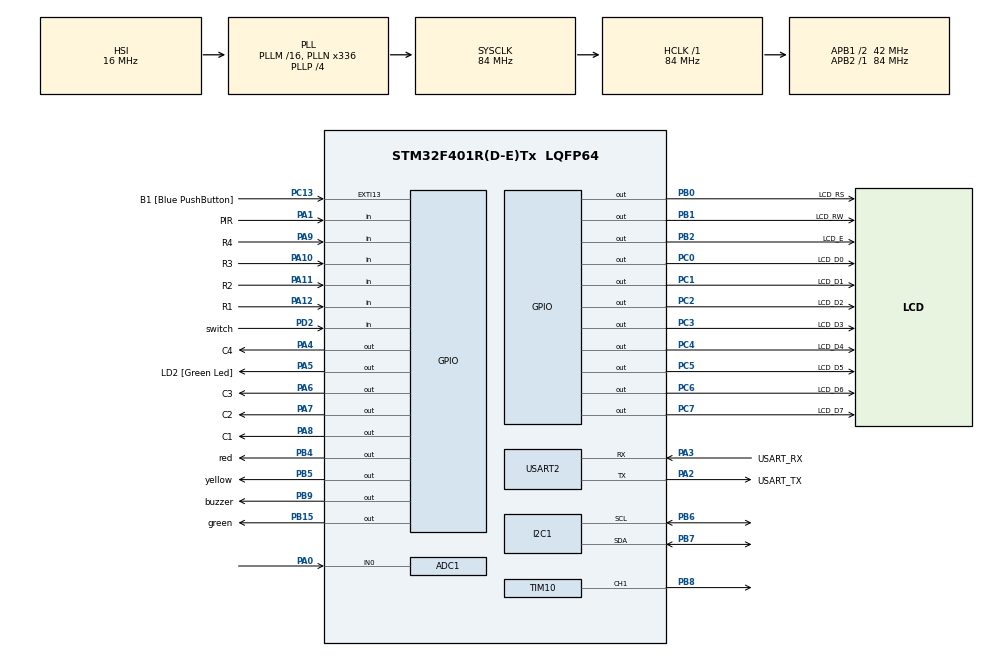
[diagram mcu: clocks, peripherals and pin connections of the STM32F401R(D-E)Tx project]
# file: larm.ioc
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ADC1.Channel-17\#ChannelRegularConversion=ADC_CHANNEL_0
ADC1.ClockPrescaler=ADC_CLOCK_SYNC_PCLK_DIV8
ADC1.ContinuousConvMode=DISABLE
ADC1.DMAContinuousRequests=DISABLE
ADC1.DataAlign=ADC_DATAALIGN_RIGHT
ADC1.DiscontinuousConvMode=DISABLE
ADC1.EOCSelection=ADC_EOC_SINGLE_CONV
ADC1.EnableAnalogWatchDog=false
ADC1.ExternalTrigConv=ADC_SOFTWARE_START
ADC1.ExternalTrigConvEdge=ADC_EXTERNALTRIGCONVEDGE_NONE
ADC1.InjNumberOfConversion=0
ADC1.NbrOfConversion=1
ADC1.NbrOfConversionFlag=1
ADC1.Rank-17\#ChannelRegularConversion=1
ADC1.Resolution=ADC_RESOLUTION_12B
ADC1.SamplingTime-17\#ChannelRegularConversion=ADC_SAMPLETIME_480CYCLES
ADC1.ScanConvMode=DISABLE
ADC1.master=1
Mcu.Family=STM32F4
Mcu.Name=STM32F401R(D-E)Tx
Mcu.Package=LQFP64
NVIC.PriorityGroup=NVIC_PRIORITYGROUP_0
NVIC.TIM1_TRG_COM_TIM11_IRQn=true\:0\:0\:false\:false\:true
PA0-WKUP.Signal=ADCx_IN0
PA1.GPIO_Label=PIR
PA1.Signal=GPIO_Input
PA10.GPIO_Label=R3
PA10.GPIO_PuPd=GPIO_PULLUP
PA10.Signal=GPIO_Input
PA11.GPIO_Label=R2
PA11.GPIO_PuPd=GPIO_PULLUP
PA11.Signal=GPIO_Input
PA12.GPIO_Label=R1
PA12.GPIO_PuPd=GPIO_PULLUP
PA12.Signal=GPIO_Input
PA13.GPIO_Label=TMS
PA13.Signal=SYS_JTMS-SWDIO
PA14.GPIO_Label=TCK
PA14.Signal=SYS_JTCK-SWCLK
PA2.GPIO_Label=USART_TX
PA2.GPIO_Mode=GPIO_MODE_AF_PP
PA2.GPIO_PuPd=GPIO_NOPULL
PA2.GPIO_Speed=GPIO_SPEED_FREQ_LOW
PA2.Mode=Asynchronous
PA2.Signal=USART2_TX
PA3.GPIO_Label=USART_RX
PA3.GPIO_Mode=GPIO_MODE_AF_PP
PA3.GPIO_PuPd=GPIO_NOPULL
PA3.GPIO_Speed=GPIO_SPEED_FREQ_LOW
PA3.Mode=Asynchronous
PA3.Signal=USART2_RX
PA4.GPIO_Label=C4
PA4.GPIO_ModeDefaultOutputPP=GPIO_MODE_OUTPUT_PP
PA4.Signal=GPIO_Output
PA5.GPIO_Label=LD2 [Green Led]
PA5.GPIO_Mode=GPIO_MODE_OUTPUT_PP
PA5.GPIO_PuPd=GPIO_NOPULL
PA5.GPIO_Speed=GPIO_SPEED_FREQ_LOW
PA5.Signal=GPIO_Output
PA6.GPIO_Label=C3
PA6.GPIO_ModeDefaultOutputPP=GPIO_MODE_OUTPUT_PP
PA6.Signal=GPIO_Output
PA7.GPIO_Label=C2
PA7.GPIO_ModeDefaultOutputPP=GPIO_MODE_OUTPUT_PP
PA7.Signal=GPIO_Output
PA8.GPIO_Label=C1
PA8.GPIO_ModeDefaultOutputPP=GPIO_MODE_OUTPUT_PP
PA8.Signal=GPIO_Output
PA9.GPIO_Label=R4
PA9.GPIO_PuPd=GPIO_PULLUP
PA9.Signal=GPIO_Input
PB0.GPIO_Label=LCD_RS
PB0.Signal=GPIO_Output
PB1.GPIO_Label=LCD_RW
PB1.Signal=GPIO_Output
PB15.GPIO_Label=green
PB15.Signal=GPIO_Output
PB2.GPIO_Label=LCD_E
PB2.Signal=GPIO_Output
PB3.GPIO_Label=SWO
PB3.Signal=SYS_JTDO-SWO
PB4.GPIO_Label=red
PB4.Signal=GPIO_Output
PB5.GPIO_Label=yellow
PB5.Signal=GPIO_Output
PB6.Mode=I2C
PB6.Signal=I2C1_SCL
PB7.Mode=I2C
PB7.Signal=I2C1_SDA
PB8.Signal=S_TIM10_CH1
PB9.GPIO_Label=buzzer
PB9.Signal=GPIO_Output
PC0.GPIO_Label=LCD_D0
PC0.Signal=GPIO_Output
PC1.GPIO_Label=LCD_D1
PC1.Signal=GPIO_Output
PC13-ANTI_TAMP.GPIO_Label=B1 [Blue PushButton]
PC13-ANTI_TAMP.GPIO_ModeDefaultEXTI=GPIO_MODE_IT_FALLING
PC13-ANTI_TAMP.GPIO_PuPd=GPIO_NOPULL
PC13-ANTI_TAMP.Signal=GPXTI13
PC14-OSC32_IN.Signal=RCC_OSC32_IN
PC15-OSC32_OUT.Signal=RCC_OSC32_OUT
PC2.GPIO_Label=LCD_D2
PC2.Signal=GPIO_Output
PC3.GPIO_Label=LCD_D3
PC3.Signal=GPIO_Output
PC4.GPIO_Label=LCD_D4
PC4.Signal=GPIO_Output
PC5.GPIO_Label=LCD_D5
PC5.Signal=GPIO_Output
PC6.GPIO_Label=LCD_D6
PC6.Signal=GPIO_Output
PC7.GPIO_Label=LCD_D7
PC7.Signal=GPIO_Output
PD2.GPIO_Label=switch
PD2.GPIO_PuPd=GPIO_PULLUP
PD2.Signal=GPIO_Input
PH0\ -\ OSC_IN.Signal=RCC_OSC_IN
PH1\ -\ OSC_OUT.Signal=RCC_OSC_OUT
ProjectManager.HeapSize=0x200
ProjectManager.StackSize=0x400
ProjectManager.TargetToolchain=TrueSTUDIO
RCC.AHBFreq_Value=84000000
RCC.APB1CLKDivider=RCC_HCLK_DIV2
RCC.APB1Freq_Value=42000000
RCC.APB1TimFreq_Value=84000000
RCC.APB2Freq_Value=84000000
RCC.APB2TimFreq_Value=84000000
RCC.CortexFreq_Value=84000000
RCC.HCLKFreq_Value=84000000
RCC.HSE_VALUE=8000000
RCC.HSI_VALUE=16000000
RCC.LSE_VALUE=32768
RCC.PLLN=336
RCC.PLLP=RCC_PLLP_DIV4
RCC.PLLQ=7
RCC.SYSCLKFreq_VALUE=84000000
RCC.SYSCLKSource=RCC_SYSCLKSOURCE_PLLCLK
RCC.VCOOutputFreq_Value=336000000
SH.ADCx_IN0.0=ADC1_IN0,IN0
SH.S_TIM10_CH1.0=TIM10_CH1,PWM Generation1 CH1
TIM10.Channel=TIM_CHANNEL_1
TIM10.Period=4200
TIM10.Prescaler=20
TIM10.Pulse=4199
TIM11.Period=62499
TIM11.Prescaler=1343
USART2.VirtualMode=VM_ASYNC
VP_TIM10_VS_ClockSourceINT.Mode=Enable_Timer
VP_TIM11_VS_ClockSourceINT.Mode=Enable_Timer
board=NUCLEO-F401RE

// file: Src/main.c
/**
 ******************************************************************************
 * File Name          : main.c
 * Description        : Main program body
 ******************************************************************************
 ** This notice applies to any and all portions of this file
 * that are not between comment pairs USER CODE BEGIN and
 * USER CODE END. Other portions of this file, whether
 * inserted by the user or by software development tools
 * are owned by their respective copyright owners.
 *
 * COPYRIGHT(c) 2018 STMicroelectronics
 *
 * Redistribution and use in source and binary forms, with or without modification,
 * are permitted provided that the following conditions are met:
 *   1. Redistributions of source code must retain the above copyright notice,
 *      this list of conditions and the following disclaimer.
 *   2. Redistributions in binary form must reproduce the above copyright notice,
 *      this list of conditions and the following disclaimer in the documentation
 *      and/or other materials provided with the distribution.
 *   3. Neither the name of STMicroelectronics nor the names of its contributors
 *      may be used to endorse or promote products derived from this software
 *      without specific prior written permission.
 *
 * THIS SOFTWARE IS PROVIDED BY THE COPYRIGHT HOLDERS AND CONTRIBUTORS "AS IS"
 * AND ANY EXPRESS OR IMPLIED WARRANTIES, INCLUDING, BUT NOT LIMITED TO, THE
 * IMPLIED WARRANTIES OF MERCHANTABILITY AND FITNESS FOR A PARTICULAR PURPOSE ARE
 * DISCLAIMED. IN NO EVENT SHALL THE COPYRIGHT HOLDER OR CONTRIBUTORS BE LIABLE
 * FOR ANY DIRECT, INDIRECT, INCIDENTAL, SPECIAL, EXEMPLARY, OR CONSEQUENTIAL
 * DAMAGES (INCLUDING, BUT NOT LIMITED TO, PROCUREMENT OF SUBSTITUTE GOODS OR
 * SERVICES; LOSS OF USE, DATA, OR PROFITS; OR BUSINESS INTERRUPTION) HOWEVER
 * CAUSED AND ON ANY THEORY OF LIABILITY, WHETHER IN CONTRACT, STRICT LIABILITY,
 * OR TORT (INCLUDING NEGLIGENCE OR OTHERWISE) ARISING IN ANY WAY OUT OF THE USE
 * OF THIS SOFTWARE, EVEN IF ADVISED OF THE POSSIBILITY OF SUCH DAMAGE.
 *
 ******************************************************************************
 */
#include "main.h"
#include "stm32f4xx_hal.h"

/* USER CODE BEGIN Includes */
#include "lcd.h"
#include "delay.h"

/* USER CODE END Includes */

ADC_HandleTypeDef hadc1;

I2C_HandleTypeDef hi2c1;

TIM_HandleTypeDef htim10;
TIM_HandleTypeDef htim11;

UART_HandleTypeDef huart2;
TextLCDType lcd;
/* USER CODE BEGIN PV */
/* Private variables ---------------------------------------------------------*/

//Keypad och diverse
char str[50], string[50];
int svar = -1;
int check;
int channel_0;
int knapp;

//Alarm/Activate/Deactivate
int ARM_DISARM_flag = 1;
int activate_deactivate = 0;
int alarm_off = 0;
int alarm = 0;
int volym = 0;

//timer/PIR
int PIR = 0;
int sec = 0, check_sek = 0;
int sec10 = 3;
int timer = 0;
char lcdTime[3];

// temprature
int channel_0, temprature, temp, set_Temp_Flag = 0, check_set;
int temp10 = 0, temp1 = 0;
int set_Temp = 30;
float recistance, vOut;

//Thermometer
uint8_t data_rec[6];
int16_t x, y, z;
int xg, yg, zg;
int set_Threshold = 100, set_Threshold_Flag = 0;
int threshold1 = 0, threshold2 = 0, threshold3 = 0; //check value when setting threshold
int set_x, set_y, set_z;

typedef enum {
	IDLE,
	SET_TEMP,
	SET_THERMOMETER,
	TURN_OFF1,
	TURN_OFF2,
	LARM_OFF,
	ARM_DISARM1,
	ARM_DISARM2,
	ARMING,
	ARMED,
	WRONG_PIN1,
	WRONG_PIN2,
	WRONG_PIN3,
	WRONG_PIN
} state_t;

volatile state_t state = IDLE;

/* USER CODE END PV */

void SystemClock_Config(void);
static void MX_GPIO_Init(void);
static void MX_USART2_UART_Init(void);
static void MX_TIM10_Init(void);
static void MX_ADC1_Init(void);
static void MX_TIM11_Init(void);
static void MX_I2C1_Init(void);

void HAL_TIM_MspPostInit(TIM_HandleTypeDef *htim);

/* USER CODE BEGIN PFP */
/* Private function prototypes -----------------------------------------------*/

//recieve the input from keypad and check if code is right
void check_Code(int keyVal) {

	switch (state) {
	case IDLE:

		TextLCD_Position(&lcd, 1, 0);
		TextLCD_Puts(&lcd, "PIN:");
		if (alarm == 0) {
			//shows temprature on display
			sprintf(str, "T: %d C", temprature);
			TextLCD_Position(&lcd, 1, 8);
			TextLCD_Puts(&lcd, str);

			//A to set TEMP
			if (keyVal == -3) {
				state = SET_TEMP;
				TextLCD_Clear(&lcd);
			}
			//B to set THERMOMETER
			if (keyVal == -4) {
				set_Threshold = 0;
				state = SET_THERMOMETER;
				TextLCD_Clear(&lcd);
			}

		}
		if (keyVal >= 0) {
			TextLCD_Clear(&lcd);
			TextLCD_Position(&lcd, 1, 0);
			TextLCD_Puts(&lcd, "PIN:*");
			if (keyVal == 6) {

				state = TURN_OFF1;
			} else if (keyVal == 7) {

				state = ARM_DISARM1;
			} else {

				state = WRONG_PIN1;
			}

		}
		break;

	case SET_THERMOMETER:
		sprintf(str, "X:%d", xg);
		TextLCD_Position(&lcd, 1, 0);
		TextLCD_Puts(&lcd, str);
		sprintf(str, "Y:%d", yg);
		TextLCD_Position(&lcd, 1,7);
		TextLCD_Puts(&lcd, str);
		sprintf(str, "Z:%d", zg);
		TextLCD_Position(&lcd, 2, 0);
		TextLCD_Puts(&lcd, str);

		sprintf(str, "Th:+- %d", set_Threshold);
		TextLCD_Position(&lcd, 2, 7);
		TextLCD_Puts(&lcd, str);

		if (keyVal >= 0) {
			check_set = keyVal;
			set_Threshold_Flag++;

			if (set_Threshold_Flag == 1) {
				threshold1 = check_set;
				set_Threshold = threshold1;

			}

			else if (set_Threshold_Flag == 2) {
				threshold2 = check_set;
				set_Threshold = (threshold1 * 10) + threshold2;

			} else if (set_Threshold_Flag == 3) {
				threshold3 = check_set;
				set_Threshold = (threshold1 * 100) + (threshold2 * 10)
						+ threshold3;

			}
		}

		if (keyVal == -5)   //C to CLEAR
				{
			threshold1 = 0;
			threshold2 = 0;
			threshold3 = 0;
			set_Threshold = 0;
			set_Threshold_Flag = 0;
			TextLCD_Clear(&lcd);

		}
		if (keyVal == -4) {  //B to set threshold
			set_Threshold_Flag = 0;
			TextLCD_Clear(&lcd);
			state = IDLE;

		}

		break;

	case SET_TEMP:

		sprintf(str, "T: %d C", temprature);
		TextLCD_Position(&lcd, 1, 0);
		TextLCD_Puts(&lcd, str);
		sprintf(str, "Set T: %d C", set_Temp);
		TextLCD_Position(&lcd, 2, 0);
		TextLCD_Puts(&lcd, str);

		if (keyVal >= 0) {
			check_set = keyVal;

			if (set_Temp_Flag == 0) {
				temp10 = check_set;
				temp1 = 0;
				set_Temp = (temp10 * 10) + temp1;
				set_Temp_Flag = 1;
			}

			else if (set_Temp_Flag == 1) {
				temp1 = check_set;
				set_Temp = (temp10 * 10) + temp1;
				set_Temp_Flag = 0;
			}
		}
		if (keyVal == -5)   // C to CLEAR
				{
			temp10 = 0;
			temp1 = 0;
			set_Temp = 0;
			TextLCD_Clear(&lcd);
		}

		if (keyVal == -3) {  // A to set temp
			state = IDLE;
			TextLCD_Clear(&lcd);
		}

		break;

	case TURN_OFF1:

		if (keyVal >= 0) {

			TextLCD_Position(&lcd, 1, 0);
			TextLCD_Puts(&lcd, "PIN:**");
			if (keyVal == 5)
				state = TURN_OFF2;
			else
				state = WRONG_PIN2;

		}
		break;
	case TURN_OFF2:

		if (keyVal >= 0) {

			TextLCD_Position(&lcd, 1, 0);
			TextLCD_Puts(&lcd, "PIN:***");
			if (keyVal == 1)
				state = LARM_OFF;
			else
				state = WRONG_PIN3;

		}
		break;
	case LARM_OFF:

		if (keyVal >= 0) {

			TextLCD_Position(&lcd, 1, 0);
			TextLCD_Puts(&lcd, "PIN:****");
			if (keyVal == 0) {
				alarm = 0;
				HAL_TIM_PWM_Stop(&htim10, TIM_CHANNEL_1);
				HAL_TIM_Base_Stop_IT(&htim11);
				ARM_DISARM_flag = 1;
				TextLCD_Clear(&lcd);
				TextLCD_Position(&lcd, 2, 3);
				TextLCD_Puts(&lcd, "LARM OFF!");
				activeBuzzer();
				HAL_Delay(1000);

				sprintf(str, "larm off \n\r ");
				HAL_UART_Transmit(&huart2, (uint8_t*) str, strlen(str), 100);
				HAL_GPIO_WritePin(GPIOB, GPIO_PIN_15, 1);
				HAL_GPIO_WritePin(GPIOB, GPIO_PIN_5, 0);
				HAL_GPIO_WritePin(GPIOB, GPIO_PIN_4, 0);
				TextLCD_Clear(&lcd);
				state = IDLE;
			} else
				state = WRONG_PIN;

		}
		break;
	case ARM_DISARM1:

		if (keyVal >= 0) {

			TextLCD_Position(&lcd, 1, 0);
			TextLCD_Puts(&lcd, "PIN:**");
			if (keyVal == 3)
				state = ARM_DISARM2;
			else
				state = WRONG_PIN2;

		}
		break;
	case ARM_DISARM2:

		if (keyVal >= 0) {

			TextLCD_Position(&lcd, 1, 0);
			TextLCD_Puts(&lcd, "PIN:***");
			if (keyVal == 9)
				state = ARMING;

			else
				state = WRONG_PIN3;

		}
		break;
	case ARMING:

		if (keyVal >= 0) {

			TextLCD_Position(&lcd, 1, 0);
			TextLCD_Puts(&lcd, "PIN:****");

			if (keyVal == 2) {

				//check if you want to activate or deactivate the alarm-system
				if (ARM_DISARM_flag == 0)
					ARM_DISARM_flag = 1;
				else if (ARM_DISARM_flag == 1)
					ARM_DISARM_flag = 0;

				//When activating the alarm-system
				if (ARM_DISARM_flag == 0) {

					TextLCD_Clear(&lcd);
					TextLCD_Position(&lcd, 1, 4);
					TextLCD_Puts(&lcd, "ARMING!");
					activeBuzzer();

					HAL_GPIO_WritePin(GPIOB, GPIO_PIN_15, 0);
					HAL_GPIO_WritePin(GPIOB, GPIO_PIN_5, 1);
					HAL_GPIO_WritePin(GPIOB, GPIO_PIN_4, 0);
					timer = 1;
					HAL_TIM_Base_Start_IT(&htim11);

				}

				// when deactivate the alarm-system, you send flag = 1 to activate_deactivate() function
				else
					activate_deactivate = 1;

			}

			else
				state = WRONG_PIN;
		}

		break;

	case ARMED:

		HAL_GPIO_WritePin(GPIOB, GPIO_PIN_15, 0);
		HAL_GPIO_WritePin(GPIOB, GPIO_PIN_5, 0);
		HAL_GPIO_WritePin(GPIOB, GPIO_PIN_4, 1);
		if (alarm == 0 && PIR == 0) {
			TextLCD_Position(&lcd, 2, 4);
			TextLCD_Puts(&lcd, "ARMED");
			activate_deactivate = 1;
		}
		if (alarm == 1)
			HAL_TIM_Base_Start_IT(&htim11); // starts the timer for sirens when alarm = 1

		if (keyVal == -2) // press D to set a new pin
			state = IDLE;

		break;
	case WRONG_PIN1:

		if (keyVal >= 0) {
			TextLCD_Clear(&lcd);
			TextLCD_Position(&lcd, 1, 0);
			TextLCD_Puts(&lcd, "PIN:**");
			state = WRONG_PIN2;
		}
		break;
	case WRONG_PIN2:

		if (keyVal >= 0) {
			TextLCD_Clear(&lcd);
			TextLCD_Position(&lcd, 1, 0);
			TextLCD_Puts(&lcd, "PIN:***");
			state = WRONG_PIN3;

		}
		break;
	case WRONG_PIN3:

		if (keyVal >= 0) {
			TextLCD_Clear(&lcd);
			TextLCD_Position(&lcd, 1, 0);
			TextLCD_Puts(&lcd, "PIN:****");
			HAL_Delay(1000);
			state = WRONG_PIN;

		}
		break;
	case WRONG_PIN:
		TextLCD_Clear(&lcd);
		TextLCD_Position(&lcd, 1, 3);
		TextLCD_Puts(&lcd, "WRONG PIN!");
		sprintf(str, "wrong code \n\r ");
		HAL_UART_Transmit(&huart2, (uint8_t*) str, strlen(str), 100);
		HAL_Delay(1500);
		TextLCD_Clear(&lcd);
		state = IDLE;

		break;

	default:
		state = IDLE;
		break;
	}
}

//Temprature
int16_t Read_Analog_Temp() {

	HAL_ADC_Start(&hadc1);
	if (HAL_ADC_PollForConversion(&hadc1, HAL_MAX_DELAY) == HAL_OK) {
		channel_0 = HAL_ADC_GetValue(&hadc1);
	}
	HAL_ADC_Stop(&hadc1);

	vOut = (3.3f * channel_0) / 4096.0f;

	/* Calculate Thermistor Resistance. Code Begin*/

	recistance = ((10000 * 5.0F) / vOut) - 10000; // Rt = R0 * (( Vs / Vo ) - 10000) ,    Löste ut R ur (V = 2.5 * (R/(10000 + R))

	/* Calculate Thermistor Resistance. Code End*/

	/* Calculate Temprature. Code Begin*/
	temp = 1.0f / ((log(recistance / 10000) / 3450.0f) + (1.0f / 298.15f));
	temprature = temp - 273.15f;
	/* Calculate Temprature. Code End*/

	//sprintf(str, "vOut: %d\n\r", temprature);
	//HAL_UART_Transmit(&huart2, (uint8_t*) str, strlen(str), 100);
	return temprature;
}

// timer
void countDown() {

	if (PIR == 0) {
			TextLCD_Position(&lcd, 2, 0);
			TextLCD_Puts(&lcd, "Timer:");

			TextLCD_Position(&lcd, 2, 7);
			TextLCD_Puts(&lcd, lcdTime);
		}

	lcdTime[0] = sec10 + 0x30;
	lcdTime[1] = sec + 0x30;
	lcdTime[2] = '\0';

	if (check_sek != sekTick) {
		sec--;
		check_sek = sekTick;
	}

	if (sec < 0) {
		sec = 9;
		sec10--;
		activeBuzzer(); // var tioende sekund körs buzzer
	}

	if (sec == 0 && sec10 == 0 && PIR == 0) { // 30 ec
		TextLCD_Clear(&lcd);
		sec = 0;
		sec10 = 3;
		activeBuzzer();
		set_x = xg;// set the current position on thermometer
		set_y = yg;
		set_z = zg;
		state = ARMED;
		HAL_TIM_Base_Stop_IT(&htim11);
		check_sek = 0;
		timer = 0;

	}
	if (sec == 0 && sec10 == 1 && PIR == 1) { // 20 sec
		sec = 0;
		sec10 = 3;
		alarm = 1;
		HAL_TIM_PWM_Start(&htim10, TIM_CHANNEL_1);
		TextLCD_Clear(&lcd);
		HAL_TIM_Base_Stop_IT(&htim11);
		check_sek = 0;
		timer = 0;
	}

	if (svar == -2) {
			TextLCD_Clear(&lcd);
			state = IDLE;

		}

}

// Activate or deactivate the alarm-system
void activate_Deactivate() {
	if (ARM_DISARM_flag == 0) //ACTIVATED
			{

		//red light on
		// all sensors on
		if (HAL_GPIO_ReadPin(GPIOA, GPIO_PIN_1) == 1) { // PIR

			PIR = 1;
			timer = 1;
			HAL_TIM_Base_Start_IT(&htim11);

			TextLCD_Position(&lcd, 2, 1);
			TextLCD_Puts(&lcd, "!PIR!DETECTED!");

		}

		if ((set_Temp + 2) <= temprature) { // alarm on if set_temp + 2 is lower than the temprature.
			alarm = 1;
			HAL_TIM_PWM_Start(&htim10, TIM_CHANNEL_1);
			HAL_TIM_Base_Start_IT(&htim11);
		}
		if (HAL_GPIO_ReadPin(GPIOD, GPIO_PIN_2) == 0) { // alarm on if the diamond is being lifted
			alarm = 1;
			HAL_TIM_PWM_Start(&htim10, TIM_CHANNEL_1);
			HAL_TIM_Base_Start_IT(&htim11);
		}

		if ((set_x + set_Threshold) <= xg || (set_x - set_Threshold) >= xg
				||	// alarm on if an activty is generating higher than the threshold
				(set_y + set_Threshold) <= yg || (set_y - set_Threshold) >= yg
				|| (set_z + set_Threshold) <= zg
				|| (set_z - set_Threshold) >= zg)

				{
			alarm = 1;
			HAL_TIM_PWM_Start(&htim10, TIM_CHANNEL_1);
			HAL_TIM_Base_Start_IT(&htim11);
		}

		if (svar == -2)
			state = IDLE;
		// If a sensor is tripped, the passive buzzer will go on

	}

	else if (ARM_DISARM_flag == 1) // DEACTIVATED
			{
		HAL_TIM_PWM_Stop(&htim10, TIM_CHANNEL_1);
		HAL_TIM_Base_Stop_IT(&htim11);
		PIR = 0;
		timer = 0;
		sec = 0;
		sec10 = 3;

		TextLCD_Clear(&lcd);

		TextLCD_Position(&lcd, 2, 3);
		TextLCD_Puts(&lcd, "DEACTIVATED!");
		HAL_Delay(2000);
		TextLCD_Clear(&lcd);
		HAL_GPIO_WritePin(GPIOB, GPIO_PIN_15, 1);
		HAL_GPIO_WritePin(GPIOB, GPIO_PIN_5, 0);
		HAL_GPIO_WritePin(GPIOB, GPIO_PIN_4, 0);

		activate_deactivate = 0;

		state = IDLE;

	}
}

//Alarm ON
void sirenON() {

	activate_deactivate = 0;
	PIR = 0;

	TextLCD_Position(&lcd, 2, 3);
	TextLCD_Puts(&lcd, "!ALARM!");

	if (volym == 1) {
		__HAL_TIM_SET_COMPARE(&htim10, TIM_CHANNEL_1, 1260); // 1260 / 4200 = 30% duty cycle

	}

	else if (volym == 2) {
		__HAL_TIM_SET_COMPARE(&htim10, TIM_CHANNEL_1, 2100); // 2100/4200 = 50% duty cycle

		volym = 0;
	}

	if (check_sek != sekTick) {
		volym++;
		check_sek = sekTick;

	}

}
/* USER CODE END PFP */

int main(void) {

	/* MCU Configuration----------------------------------------------------------*/

	/* Reset of all peripherals, Initializes the Flash interface and the Systick. */
	HAL_Init();

	/* Configure the system clock */
	SystemClock_Config();

	/* Initialize all configured peripherals */
	MX_GPIO_Init();
	MX_USART2_UART_Init();
	MX_TIM10_Init();
	MX_ADC1_Init();
	MX_TIM11_Init();
	MX_I2C1_Init();

	/* USER CODE BEGIN 2 */

	TextLCD_Init(&lcd, LCD_RS_GPIO_Port, LCD_RS_Pin, LCD_RW_Pin, LCD_E_Pin,
	LCD_D0_GPIO_Port,
			LCD_D1_Pin | LCD_D2_Pin | LCD_D3_Pin | LCD_D4_Pin | LCD_D5_Pin
					| LCD_D6_Pin | LCD_D7_Pin);

	HAL_GPIO_WritePin(GPIOB, GPIO_PIN_15, 1); // Start with green light

	ADXL345_Init();  // initiate thermometer

	/* USER CODE END 2 */

	/* Infinite loop */
	/* USER CODE BEGIN WHILE */

	while (1) {
		check = HAL_GPIO_ReadPin(GPIOA, GPIO_PIN_1);
		Read_Analog_Temp();  // checking temprature from thermomistor
		ADXL345_Run(); // check thermometer

		scanna_knapp(); // check which button is being clicked from keypad

		check_Code(svar); // sends output from keypad and check

		sprintf(str, "CHECK: %d \n\r ", check);
		HAL_UART_Transmit(&huart2, (uint8_t*) str, strlen(str), 100);

		sprintf(str, "KEYVAL: %d \n\r ", svar);
		HAL_UART_Transmit(&huart2, (uint8_t*) str, strlen(str), 100);

		/*	sprintf(str, "THRESHOLD: %d \n\r ", set_Threshold);
		 HAL_UART_Transmit(&huart2, (uint8_t*) str, strlen(str), 100);*/

		if (timer == 1) {
			countDown();  // starts counting down

		}

		if (activate_deactivate == 1) {
			activate_Deactivate(); // check if you want to activate or deactivate the alarm-system
		}

		if (alarm == 1) {

			sirenON();   // the siren will sound
		}

	}

	/* USER CODE END WHILE */

}

/** System Clock Configuration
 */
void SystemClock_Config(void) {

	RCC_OscInitTypeDef RCC_OscInitStruct;
	RCC_ClkInitTypeDef RCC_ClkInitStruct;

	/**Configure the main internal regulator output voltage
	 */
	__HAL_RCC_PWR_CLK_ENABLE()
	;

	__HAL_PWR_VOLTAGESCALING_CONFIG(PWR_REGULATOR_VOLTAGE_SCALE2);

	/**Initializes the CPU, AHB and APB busses clocks
	 */
	RCC_OscInitStruct.OscillatorType = RCC_OSCILLATORTYPE_HSI;
	RCC_OscInitStruct.HSIState = RCC_HSI_ON;
	RCC_OscInitStruct.HSICalibrationValue = 16;
	RCC_OscInitStruct.PLL.PLLState = RCC_PLL_ON;
	RCC_OscInitStruct.PLL.PLLSource = RCC_PLLSOURCE_HSI;
	RCC_OscInitStruct.PLL.PLLM = 16;
	RCC_OscInitStruct.PLL.PLLN = 336;
	RCC_OscInitStruct.PLL.PLLP = RCC_PLLP_DIV4;
	RCC_OscInitStruct.PLL.PLLQ = 7;
	if (HAL_RCC_OscConfig(&RCC_OscInitStruct) != HAL_OK) {
		_Error_Handler(__FILE__, __LINE__);
	}

	/**Initializes the CPU, AHB and APB busses clocks
	 */
	RCC_ClkInitStruct.ClockType = RCC_CLOCKTYPE_HCLK | RCC_CLOCKTYPE_SYSCLK
			| RCC_CLOCKTYPE_PCLK1 | RCC_CLOCKTYPE_PCLK2;
	RCC_ClkInitStruct.SYSCLKSource = RCC_SYSCLKSOURCE_PLLCLK;
	RCC_ClkInitStruct.AHBCLKDivider = RCC_SYSCLK_DIV1;
	RCC_ClkInitStruct.APB1CLKDivider = RCC_HCLK_DIV2;
	RCC_ClkInitStruct.APB2CLKDivider = RCC_HCLK_DIV1;

	if (HAL_RCC_ClockConfig(&RCC_ClkInitStruct, FLASH_LATENCY_2) != HAL_OK) {
		_Error_Handler(__FILE__, __LINE__);
	}

	/**Configure the Systick interrupt time
	 */
	HAL_SYSTICK_Config(HAL_RCC_GetHCLKFreq() / 1000);

	/**Configure the Systick
	 */
	HAL_SYSTICK_CLKSourceConfig(SYSTICK_CLKSOURCE_HCLK);

	/* SysTick_IRQn interrupt configuration */
	HAL_NVIC_SetPriority(SysTick_IRQn, 0, 0);
}

/* ADC1 init function */
static void MX_ADC1_Init(void) {

	ADC_ChannelConfTypeDef sConfig;

	/**Configure the global features of the ADC (Clock, Resolution, Data Alignment and number of conversion)
	 */
	hadc1.Instance = ADC1;
	hadc1.Init.ClockPrescaler = ADC_CLOCK_SYNC_PCLK_DIV8;
	hadc1.Init.Resolution = ADC_RESOLUTION_12B;
	hadc1.Init.ScanConvMode = DISABLE;
	hadc1.Init.ContinuousConvMode = DISABLE;
	hadc1.Init.DiscontinuousConvMode = DISABLE;
	hadc1.Init.ExternalTrigConvEdge = ADC_EXTERNALTRIGCONVEDGE_NONE;
	hadc1.Init.ExternalTrigConv = ADC_SOFTWARE_START;
	hadc1.Init.DataAlign = ADC_DATAALIGN_RIGHT;
	hadc1.Init.NbrOfConversion = 1;
	hadc1.Init.DMAContinuousRequests = DISABLE;
	hadc1.Init.EOCSelection = ADC_EOC_SINGLE_CONV;
	if (HAL_ADC_Init(&hadc1) != HAL_OK) {
		_Error_Handler(__FILE__, __LINE__);
	}

	/**Configure for the selected ADC regular channel its corresponding rank in the sequencer and its sample time.
	 */
	sConfig.Channel = ADC_CHANNEL_0;
	sConfig.Rank = 1;
	sConfig.SamplingTime = ADC_SAMPLETIME_480CYCLES;
	if (HAL_ADC_ConfigChannel(&hadc1, &sConfig) != HAL_OK) {
		_Error_Handler(__FILE__, __LINE__);
	}

}

/* I2C1 init function */
static void MX_I2C1_Init(void) {

	hi2c1.Instance = I2C1;
	hi2c1.Init.ClockSpeed = 100000;
	hi2c1.Init.DutyCycle = I2C_DUTYCYCLE_2;
	hi2c1.Init.OwnAddress1 = 0;
	hi2c1.Init.AddressingMode = I2C_ADDRESSINGMODE_7BIT;
	hi2c1.Init.DualAddressMode = I2C_DUALADDRESS_DISABLE;
	hi2c1.Init.OwnAddress2 = 0;
	hi2c1.Init.GeneralCallMode = I2C_GENERALCALL_DISABLE;
	hi2c1.Init.NoStretchMode = I2C_NOSTRETCH_DISABLE;
	if (HAL_I2C_Init(&hi2c1) != HAL_OK) {
		_Error_Handler(__FILE__, __LINE__);
	}

}

/* TIM10 init function */
static void MX_TIM10_Init(void) {

	TIM_OC_InitTypeDef sConfigOC;

	htim10.Instance = TIM10;
	htim10.Init.Prescaler = 20;
	htim10.Init.CounterMode = TIM_COUNTERMODE_UP;
	htim10.Init.Period = 4200;
	htim10.Init.ClockDivision = TIM_CLOCKDIVISION_DIV1;
	if (HAL_TIM_Base_Init(&htim10) != HAL_OK) {
		_Error_Handler(__FILE__, __LINE__);
	}

	if (HAL_TIM_PWM_Init(&htim10) != HAL_OK) {
		_Error_Handler(__FILE__, __LINE__);
	}

	sConfigOC.OCMode = TIM_OCMODE_PWM1;
	sConfigOC.Pulse = 4199;
	sConfigOC.OCPolarity = TIM_OCPOLARITY_HIGH;
	sConfigOC.OCFastMode = TIM_OCFAST_DISABLE;
	if (HAL_TIM_PWM_ConfigChannel(&htim10, &sConfigOC, TIM_CHANNEL_1)
			!= HAL_OK) {
		_Error_Handler(__FILE__, __LINE__);
	}

	HAL_TIM_MspPostInit(&htim10);

}

/* TIM11 init function */
static void MX_TIM11_Init(void) {

	htim11.Instance = TIM11;
	htim11.Init.Prescaler = 1343;
	htim11.Init.CounterMode = TIM_COUNTERMODE_UP;
	htim11.Init.Period = 62499;
	htim11.Init.ClockDivision = TIM_CLOCKDIVISION_DIV1;
	if (HAL_TIM_Base_Init(&htim11) != HAL_OK) {
		_Error_Handler(__FILE__, __LINE__);
	}

}

/* USART2 init function */
static void MX_USART2_UART_Init(void) {

	huart2.Instance = USART2;
	huart2.Init.BaudRate = 115200;
	huart2.Init.WordLength = UART_WORDLENGTH_8B;
	huart2.Init.StopBits = UART_STOPBITS_1;
	huart2.Init.Parity = UART_PARITY_NONE;
	huart2.Init.Mode = UART_MODE_TX_RX;
	huart2.Init.HwFlowCtl = UART_HWCONTROL_NONE;
	huart2.Init.OverSampling = UART_OVERSAMPLING_16;
	if (HAL_UART_Init(&huart2) != HAL_OK) {
		_Error_Handler(__FILE__, __LINE__);
	}

}

/** Configure pins as
 * Analog
 * Input
 * Output
 * EVENT_OUT
 * EXTI
 */
static void MX_GPIO_Init(void) {

	GPIO_InitTypeDef GPIO_InitStruct;

	/* GPIO Ports Clock Enable */
	__HAL_RCC_GPIOC_CLK_ENABLE()
	;
	__HAL_RCC_GPIOH_CLK_ENABLE()
	;
	__HAL_RCC_GPIOA_CLK_ENABLE()
	;
	__HAL_RCC_GPIOB_CLK_ENABLE()
	;
	__HAL_RCC_GPIOD_CLK_ENABLE()
	;

	/*Configure GPIO pin Output Level */
	HAL_GPIO_WritePin(GPIOC,
			LCD_D0_Pin | LCD_D1_Pin | LCD_D2_Pin | LCD_D3_Pin | LCD_D4_Pin
					| LCD_D5_Pin | LCD_D6_Pin | LCD_D7_Pin, GPIO_PIN_RESET);

	/*Configure GPIO pin Output Level */
	HAL_GPIO_WritePin(GPIOA, C4_Pin | LD2_Pin | C3_Pin | C2_Pin | C1_Pin,
			GPIO_PIN_RESET);

	/*Configure GPIO pin Output Level */
	HAL_GPIO_WritePin(GPIOB,
			LCD_RS_Pin | LCD_RW_Pin | LCD_E_Pin | green_Pin | red_Pin
					| yellow_Pin | buzzer_Pin, GPIO_PIN_RESET);

	/*Configure GPIO pin : B1_Pin */
	GPIO_InitStruct.Pin = B1_Pin;
	GPIO_InitStruct.Mode = GPIO_MODE_IT_FALLING;
	GPIO_InitStruct.Pull = GPIO_NOPULL;
	HAL_GPIO_Init(B1_GPIO_Port, &GPIO_InitStruct);

	/*Configure GPIO pins : LCD_D0_Pin LCD_D1_Pin LCD_D2_Pin LCD_D3_Pin
	 LCD_D4_Pin LCD_D5_Pin LCD_D6_Pin LCD_D7_Pin */
	GPIO_InitStruct.Pin = LCD_D0_Pin | LCD_D1_Pin | LCD_D2_Pin | LCD_D3_Pin
			| LCD_D4_Pin | LCD_D5_Pin | LCD_D6_Pin | LCD_D7_Pin;
	GPIO_InitStruct.Mode = GPIO_MODE_OUTPUT_PP;
	GPIO_InitStruct.Pull = GPIO_NOPULL;
	GPIO_InitStruct.Speed = GPIO_SPEED_FREQ_LOW;
	HAL_GPIO_Init(GPIOC, &GPIO_InitStruct);

	/*Configure GPIO pin : PIR_Pin */
	GPIO_InitStruct.Pin = PIR_Pin;
	GPIO_InitStruct.Mode = GPIO_MODE_INPUT;
	GPIO_InitStruct.Pull = GPIO_NOPULL;
	HAL_GPIO_Init(PIR_GPIO_Port, &GPIO_InitStruct);

	/*Configure GPIO pins : C4_Pin LD2_Pin C3_Pin C2_Pin
	 C1_Pin */
	GPIO_InitStruct.Pin = C4_Pin | LD2_Pin | C3_Pin | C2_Pin | C1_Pin;
	GPIO_InitStruct.Mode = GPIO_MODE_OUTPUT_PP;
	GPIO_InitStruct.Pull = GPIO_NOPULL;
	GPIO_InitStruct.Speed = GPIO_SPEED_FREQ_LOW;
	HAL_GPIO_Init(GPIOA, &GPIO_InitStruct);

	/*Configure GPIO pins : LCD_RS_Pin LCD_RW_Pin LCD_E_Pin green_Pin
	 red_Pin yellow_Pin buzzer_Pin */
	GPIO_InitStruct.Pin = LCD_RS_Pin | LCD_RW_Pin | LCD_E_Pin | green_Pin
			| red_Pin | yellow_Pin | buzzer_Pin;
	GPIO_InitStruct.Mode = GPIO_MODE_OUTPUT_PP;
	GPIO_InitStruct.Pull = GPIO_NOPULL;
	GPIO_InitStruct.Speed = GPIO_SPEED_FREQ_LOW;
	HAL_GPIO_Init(GPIOB, &GPIO_InitStruct);

	/*Configure GPIO pins : R4_Pin R3_Pin R2_Pin R1_Pin */
	GPIO_InitStruct.Pin = R4_Pin | R3_Pin | R2_Pin | R1_Pin;
	GPIO_InitStruct.Mode = GPIO_MODE_INPUT;
	GPIO_InitStruct.Pull = GPIO_PULLUP;
	HAL_GPIO_Init(GPIOA, &GPIO_InitStruct);

	/*Configure GPIO pin : switch_Pin */
	GPIO_InitStruct.Pin = switch_Pin;
	GPIO_InitStruct.Mode = GPIO_MODE_INPUT;
	GPIO_InitStruct.Pull = GPIO_PULLUP;
	HAL_GPIO_Init(switch_GPIO_Port, &GPIO_InitStruct);

}

/* USER CODE BEGIN 4 */

//Buzzer
void activeBuzzer() {
	HAL_GPIO_WritePin(GPIOB, GPIO_PIN_9, 1);
	HAL_Delay(800);
	HAL_GPIO_WritePin(GPIOB, GPIO_PIN_9, 0);
}

//thermometer
void ADXL345_WriteRegister(uint8_t reg, uint8_t value) // To write to the internal registers in the device
{
	uint8_t data[2];
	data[0] = reg;
	data[1] = value;
	HAL_I2C_Master_Transmit(&hi2c1, 0x53 << 1, data, 2, 10);
}

void ADXL345_readRegisters(uint8_t reg, uint8_t numberofbytes) //to read from the internal registers in the device
{

	HAL_I2C_Mem_Read(&hi2c1, 0x53 << 1, reg, 1, data_rec, numberofbytes, 100);
}

void ADXL345_Init(void) {
	ADXL345_readRegisters(0x00, 1);

	ADXL345_WriteRegister(0x2d, 0); //reset
	ADXL345_WriteRegister(0x2d, 0x08); //measure bit
	ADXL345_WriteRegister(0x31, 0x01); // +4 range
}

void ADXL345_Run(void) {

	ADXL345_readRegisters(0x32, 6);
	x = data_rec[1] << 8 | data_rec[0];
	y = data_rec[3] << 8 | data_rec[2];
	z = data_rec[5] << 8 | data_rec[4];

	xg = x * 7.8;
	yg = y * 7.8;
	zg = z * 7.8;

}

//KEYPAD
void knapp1() {

	svar = 1;
	HAL_Delay(300);

}

void knapp4() {

	svar = 4;
	HAL_Delay(300);

}

void knapp7() {

	svar = 7;
	HAL_Delay(300);

}

void knapp0() {

	svar = 0;
	HAL_Delay(300);

}

void knapp2() {

	svar = 2;
	HAL_Delay(300);

}

void knapp5() {

	svar = 5;
	HAL_Delay(300);

}

void knapp8() {

	svar = 8;
	HAL_Delay(300);

}

void knapp3() {

	svar = 3;
	HAL_Delay(300);

}

void knapp6() {

	svar = 6;
	HAL_Delay(300);

}

void knapp9() {

	svar = 9;
	HAL_Delay(300);

}
void knappD() {
	svar = -2;
	HAL_Delay(300);
}

void knappA() {
	svar = -3;
	HAL_Delay(300);
}

void knappB() {
	svar = -4;
	HAL_Delay(300);
}

void knappC() {
	svar = -5;
	HAL_Delay(300);
}

void setcolum() {

	HAL_GPIO_WritePin(GPIOA, C1_Pin, 1);
	HAL_GPIO_WritePin(GPIOA, C2_Pin, 1);
	HAL_GPIO_WritePin(GPIOA, C3_Pin, 1);
	HAL_GPIO_WritePin(GPIOA, C4_Pin, 1);
}

void setcolum1() {

	HAL_GPIO_WritePin(GPIOA, C1_Pin, 0);
	HAL_GPIO_WritePin(GPIOA, C2_Pin, 1);
	HAL_GPIO_WritePin(GPIOA, C3_Pin, 1);
	HAL_GPIO_WritePin(GPIOA, C4_Pin, 1);
}

void setcolum2() {

	HAL_GPIO_WritePin(GPIOA, C1_Pin, 1);
	HAL_GPIO_WritePin(GPIOA, C2_Pin, 0);
	HAL_GPIO_WritePin(GPIOA, C3_Pin, 1);
	HAL_GPIO_WritePin(GPIOA, C4_Pin, 1);
}

void setcolum3() {

	HAL_GPIO_WritePin(GPIOA, C1_Pin, 1);
	HAL_GPIO_WritePin(GPIOA, C2_Pin, 1);
	HAL_GPIO_WritePin(GPIOA, C3_Pin, 0);
	HAL_GPIO_WritePin(GPIOA, C4_Pin, 1);
}

void setcolum4() {

	HAL_GPIO_WritePin(GPIOA, C1_Pin, 1);
	HAL_GPIO_WritePin(GPIOA, C2_Pin, 1);
	HAL_GPIO_WritePin(GPIOA, C3_Pin, 1);
	HAL_GPIO_WritePin(GPIOA, C4_Pin, 0);
}

void scana_rad1() {
	setcolum1();

	if ((HAL_GPIO_ReadPin( GPIOA, R1_Pin)) == 0) {

		// nummer 1
		knapp1();

	}

	if ((HAL_GPIO_ReadPin( GPIOA, R2_Pin)) == 0) {

		// nummer 4
		knapp4();
	}

	if ((HAL_GPIO_ReadPin( GPIOA, R3_Pin)) == 0) {

		// nummer 7
		knapp7();
	}

	if ((HAL_GPIO_ReadPin( GPIOA, R4_Pin)) == 0) {

		// nummer " * "
		//knapp0();
	}

}

void scana_rad2() {

	setcolum2();

	if ((HAL_GPIO_ReadPin( GPIOA, R1_Pin)) == 0) {

		// nummer 2
		knapp2();
	}

	if ((HAL_GPIO_ReadPin( GPIOA, R2_Pin)) == 0) {

		// nummer 5
		knapp5();
	}

	if ((HAL_GPIO_ReadPin( GPIOA, R3_Pin)) == 0) {

		// nummer 8
		knapp8();
	}

	if ((HAL_GPIO_ReadPin( GPIOA, R4_Pin)) == 0) {

		// nummer 0
		knapp0();
	}

}

void scana_rad3() {

	setcolum3();

	if ((HAL_GPIO_ReadPin( GPIOA, R1_Pin)) == 0) {

		// nummer 3
		knapp3();

	}

	if ((HAL_GPIO_ReadPin( GPIOA, R2_Pin)) == 0) {

		// nummer 6
		knapp6();
	}

	if ((HAL_GPIO_ReadPin( GPIOA, R3_Pin)) == 0) {

		// nummer 9
		knapp9();
	}

	if ((HAL_GPIO_ReadPin( GPIOA, R4_Pin)) == 0) {

		// nummer " # "
		//knapp0();
	}

}

void scana_rad4() {

	setcolum4();

	if ((HAL_GPIO_ReadPin( GPIOA, R1_Pin)) == 0) {

		// nummer A
		knappA();
	}

	if ((HAL_GPIO_ReadPin( GPIOA, R2_Pin)) == 0) {

		// nummer B
		knappB();
	}

	if ((HAL_GPIO_ReadPin( GPIOA, R3_Pin)) == 0) {

		// nummer C
		knappC();
	}

	if ((HAL_GPIO_ReadPin( GPIOA, R4_Pin)) == 0) {

		// nummer " D "
		knappD();
	}

}

int scanna_knapp() {

	//setcolum();
	svar = -1;
	scana_rad1();
	scana_rad2();
	scana_rad3();
	scana_rad4();

	return svar;

}
/* USER CODE END 4 */

void _Error_Handler(char * file, int line) {
	while (1) {
	}
}

/************************ (C) COPYRIGHT STMicroelectronics *****END OF FILE****/
